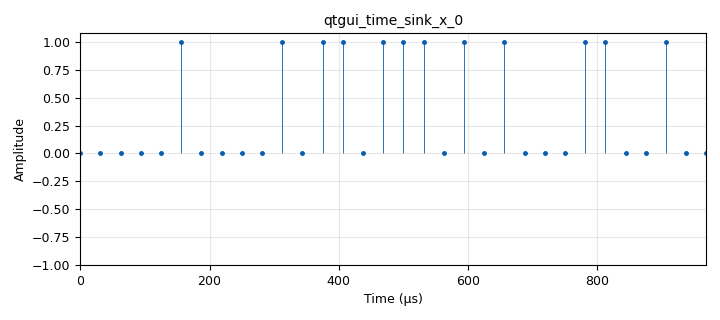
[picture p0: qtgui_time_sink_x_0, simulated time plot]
options:
  parameters:
    author: USUARIO
    generate_options: qt_gui
    id: Modulacion8PSK
    output_language: python
    title: Not titled yet
  states: {}

blocks:
- name: samp_rate
  id: variable
  parameters:
    value: '32000'
  states: {}
- name: analog_random_source_x_0
  id: analog_random_source_x
  parameters:
    max: '2'
    min: '0'
    num_samps: '1000'
    repeat: 'True'
    type: byte
  states: {}
- name: blocks_char_to_float_0
  id: blocks_char_to_float
  parameters:
    scale: '1'
  states: {}
- name: qtgui_time_sink_x_0
  id: qtgui_time_sink_x
  parameters:
    marker1: '0'
    size: '32'
    srate: samp_rate
    stemplot: 'True'
    type: float
    width1: '3'
  states: {}

connections:
- [analog_random_source_x_0, '0', blocks_char_to_float_0, '0']
- [blocks_char_to_float_0, '0', qtgui_time_sink_x_0, '0']

metadata:
  file_format: 1
  grc_version: 3.10.12.0
